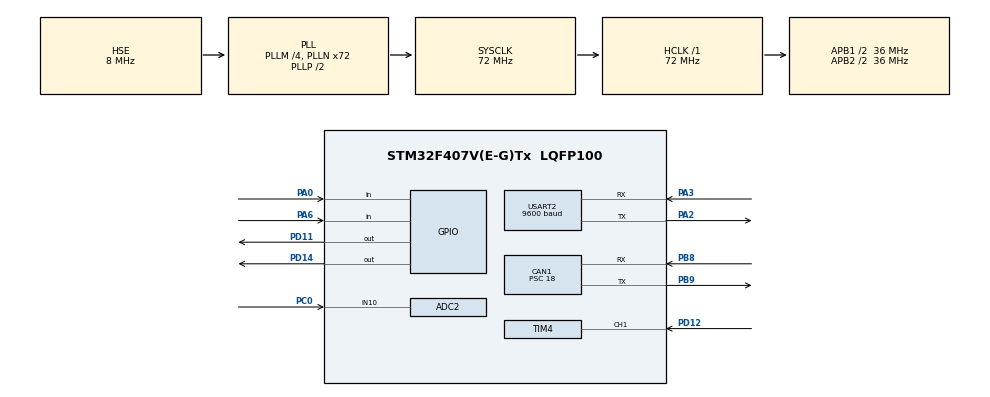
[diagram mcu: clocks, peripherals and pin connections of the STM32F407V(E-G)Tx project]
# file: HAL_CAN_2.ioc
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ADC2.Channel-0\#ChannelRegularConversion=ADC_CHANNEL_10
ADC2.NbrOfConversionFlag=1
ADC2.Rank-0\#ChannelRegularConversion=1
ADC2.SamplingTime-0\#ChannelRegularConversion=ADC_SAMPLETIME_3CYCLES
CAN1.BS1=CAN_BS1_2TQ
CAN1.CalculateBaudRate=500000
CAN1.CalculateTimeBit=2000
CAN1.CalculateTimeQuantum=500.0
CAN1.Prescaler=18
Mcu.Family=STM32F4
Mcu.Name=STM32F407V(E-G)Tx
Mcu.Package=LQFP100
NVIC.CAN1_RX0_IRQn=true\:0\:0\:false\:false\:true\:true\:true\:true
NVIC.PriorityGroup=NVIC_PRIORITYGROUP_0
NVIC.TIM4_IRQn=true\:0\:0\:false\:false\:true\:true\:true\:true
PA0-WKUP.Signal=GPIO_Input
PA2.Mode=Asynchronous
PA2.Signal=USART2_TX
PA3.Mode=Asynchronous
PA3.Signal=USART2_RX
PA6.Signal=GPIO_Input
PB8.Mode=CAN_Activate
PB8.Signal=CAN1_RX
PB9.Mode=CAN_Activate
PB9.Signal=CAN1_TX
PC0.Signal=ADCx_IN10
PD11.Signal=GPIO_Output
PD12.Signal=S_TIM4_CH1
PD14.Signal=GPIO_Output
PH0-OSC_IN.Mode=HSE-External-Oscillator
PH0-OSC_IN.Signal=RCC_OSC_IN
PH1-OSC_OUT.Mode=HSE-External-Oscillator
PH1-OSC_OUT.Signal=RCC_OSC_OUT
ProjectManager.HeapSize=0x200
ProjectManager.StackSize=0x400
ProjectManager.TargetToolchain=STM32CubeIDE
RCC.48MHZClocksFreq_Value=20571428.57142857
RCC.AHBFreq_Value=72000000
RCC.APB1CLKDivider=RCC_HCLK_DIV2
RCC.APB1Freq_Value=36000000
RCC.APB1TimFreq_Value=72000000
RCC.APB2CLKDivider=RCC_HCLK_DIV2
RCC.APB2Freq_Value=36000000
RCC.APB2TimFreq_Value=72000000
RCC.CortexFreq_Value=72000000
RCC.HCLKFreq_Value=72000000
RCC.HSE_VALUE=8000000
RCC.HSI_VALUE=16000000
RCC.LSE_VALUE=32768
RCC.PLLM=4
RCC.PLLN=72
RCC.PLLQ=7
RCC.PLLSourceVirtual=RCC_PLLSOURCE_HSE
RCC.SYSCLKFreq_VALUE=72000000
RCC.SYSCLKSource=RCC_SYSCLKSOURCE_PLLCLK
RCC.VCOOutputFreq_Value=144000000
SH.ADCx_IN10.0=ADC2_IN10,IN10
SH.S_TIM4_CH1.0=TIM4_CH1,Input_Capture1_from_TI1
TIM4.Channel-Input_Capture1_from_TI1=TIM_CHANNEL_1
TIM4.Prescaler=84-1
USART2.BaudRate=9600
USART2.VirtualMode=VM_ASYNC
VP_TIM4_VS_ClockSourceINT.Mode=Internal
board=STM32F407G-DISC1

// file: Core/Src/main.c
/* USER CODE BEGIN Header */
/**
  ******************************************************************************
  * @file           : main.c
  * @brief          : Main program body
  ******************************************************************************
  * @attention
  *
  * Copyright (c) 2024 STMicroelectronics.
  * All rights reserved.
  *
  * This software is licensed under terms that can be found in the LICENSE file
  * in the root directory of this software component.
  * If no LICENSE file comes with this software, it is provided AS-IS.
  *
  ******************************************************************************
  */
/* USER CODE END Header */
#include "main.h"

/* USER CODE BEGIN Includes */
#include <stdio.h>
#include <string.h>
/* USER CODE END Includes */

/* USER CODE BEGIN PD */
#define ULTRASONIC_TRIGGER_PORT		GPIOD
#define ULTRASONIC_TRIGGER_PIN		GPIO_PIN_11
#define ULTRASONIC_ECHO_PIN_IC		&htim4			//GPIO_PIN_12
/* USER CODE END PD */

ADC_HandleTypeDef hadc2;

CAN_HandleTypeDef hcan1;

TIM_HandleTypeDef htim4;

UART_HandleTypeDef huart2;

/* USER CODE BEGIN PV */
CAN_TxHeaderTypeDef TxHeader;
uint8_t TxData[8]={0};
uint32_t TxMailBox;
//.....................................
uint16_t distance = 0;
uint8_t isReadingFinished = 0;
uint8_t isRisingCaptured = 0;
uint32_t InputCaptureValue_1 = 0;
uint32_t InputCaptureValue_2 = 0;
uint32_t InputCaptureDifference = 0;
/* USER CODE END PV */

void SystemClock_Config(void);
static void MX_GPIO_Init(void);
static void MX_CAN1_Init(void);
static void MX_TIM4_Init(void);
static void MX_USART2_UART_Init(void);
static void MX_ADC2_Init(void);

/* USER CODE BEGIN 0 */

void Ultrasonic_distance(void)
{
	//Send Trigger Signal to ultrasonic trigger pin
	HAL_GPIO_WritePin(ULTRASONIC_TRIGGER_PORT, ULTRASONIC_TRIGGER_PIN, GPIO_PIN_SET);
	HAL_Delay(10);
	HAL_GPIO_WritePin(ULTRASONIC_TRIGGER_PORT, ULTRASONIC_TRIGGER_PIN, GPIO_PIN_RESET);
	//Enable Timer counter
	__HAL_TIM_ENABLE_IT(ULTRASONIC_ECHO_PIN_IC, TIM_IT_CC1);
}

void HAL_TIM_IC_CaptureCallback(TIM_HandleTypeDef *htim)
{
	//Capture Rising Edge
	if(isRisingCaptured == 0)
	{
		InputCaptureValue_1 = HAL_TIM_ReadCapturedValue(&htim4, TIM_CHANNEL_1);
		isRisingCaptured = 1;
		__HAL_TIM_SET_CAPTUREPOLARITY(&htim4, TIM_CHANNEL_1, TIM_INPUTCHANNELPOLARITY_FALLING);
	}
	//Capture Falling Edge
	else if(isRisingCaptured == 1)
	{
		InputCaptureValue_2 = HAL_TIM_ReadCapturedValue(&htim4, TIM_CHANNEL_1);
		__HAL_TIM_SET_COUNTER(&htim4, 0);

		if(InputCaptureValue_2 > InputCaptureValue_1)
		{
			InputCaptureDifference = InputCaptureValue_2 - InputCaptureValue_1;
		}
		else if(InputCaptureValue_1 > InputCaptureValue_2)
		{
			InputCaptureDifference = (0xFFFF - InputCaptureValue_1) + InputCaptureValue_2;
		}

		distance = InputCaptureDifference * 0.0173;

		isReadingFinished = 1;

		isRisingCaptured = 0;

		__HAL_TIM_SET_CAPTUREPOLARITY(&htim4, TIM_CHANNEL_1, TIM_INPUTCHANNELPOLARITY_RISING);
		__HAL_TIM_DISABLE_IT(&htim4, TIM_IT_CC1);

	}

}

uint8_t Read_RainSensor(void)
{
	// Digital input: 1 if dry, 0 if rain detected
	return HAL_GPIO_ReadPin(GPIOA, GPIO_PIN_6); // Example pin
}

void Read_Ultrasonic(void)
{
	Ultrasonic_distance();  // Triggers ultrasonic and handles capture via ISR
	while (!isReadingFinished); // Wait for measurement to complete
	isReadingFinished = 0;
}

uint16_t Read_Temperature(void)
{

	uint16_t raw_adc = 0;
	float temperature = 0.0;

	HAL_ADC_Start(&hadc2); // Ensure you initialize ADC1
	if (HAL_ADC_PollForConversion(&hadc2, 100) == HAL_OK)
	{
		raw_adc = HAL_ADC_GetValue(&hadc2);
		temperature = (raw_adc * 3.3 / 4096.0) * 10;  // For LM35: 10mV/°C
	}
	HAL_ADC_Stop(&hadc2);
	return (uint16_t)temperature;
}

/* USER CODE END 0 */

int main(void)
{

  /* MCU Configuration--------------------------------------------------------*/

  /* Reset of all peripherals, Initializes the Flash interface and the Systick. */
  HAL_Init();

  /* Configure the system clock */
  SystemClock_Config();

  /* Initialize all configured peripherals */
  MX_GPIO_Init();
  MX_CAN1_Init();
  MX_TIM4_Init();
  MX_USART2_UART_Init();
  MX_ADC2_Init();
  /* USER CODE BEGIN 2 */
  HAL_CAN_Start(&hcan1);
  HAL_TIM_IC_Start_IT(&htim4, TIM_CHANNEL_1);
  /* USER CODE END 2 */

  /* Infinite loop */
  /* USER CODE BEGIN WHILE */
	TxHeader.DLC = 5;
	TxHeader.RTR = CAN_RTR_DATA;
	TxHeader.IDE = CAN_ID_STD;
	TxHeader.StdId = 0x0A9;
	TxHeader.ExtId = 0x0000;
	TxHeader.TransmitGlobalTime = DISABLE;
  while (1)
  {
    /* USER CODE END WHILE */

    /* USER CODE BEGIN 3 */
	  Read_Ultrasonic();
	 uint8_t rain = Read_RainSensor();
	 uint16_t temp = Read_Temperature();
	 TxData[0] = (uint8_t)(distance >> 8);
	 TxData[1] = (uint8_t)(distance & 0xFF);
  	 TxData[2] = rain;
  	 TxData[3] = (uint8_t)(temp >> 8);
  	 TxData[4] = (uint8_t)(temp & 0xFF);
 	if(HAL_CAN_AddTxMessage(&hcan1, &TxHeader, TxData, &TxMailBox) != HAL_OK)
				Error_Handler();
	HAL_Delay(1000);
  }
  /* USER CODE END 3 */
}

void SystemClock_Config(void)
{
  RCC_OscInitTypeDef RCC_OscInitStruct = {0};
  RCC_ClkInitTypeDef RCC_ClkInitStruct = {0};

  /** Configure the main internal regulator output voltage
  */
  __HAL_RCC_PWR_CLK_ENABLE();
  __HAL_PWR_VOLTAGESCALING_CONFIG(PWR_REGULATOR_VOLTAGE_SCALE1);

  /** Initializes the RCC Oscillators according to the specified parameters
  * in the RCC_OscInitTypeDef structure.
  */
  RCC_OscInitStruct.OscillatorType = RCC_OSCILLATORTYPE_HSE;
  RCC_OscInitStruct.HSEState = RCC_HSE_ON;
  RCC_OscInitStruct.PLL.PLLState = RCC_PLL_ON;
  RCC_OscInitStruct.PLL.PLLSource = RCC_PLLSOURCE_HSE;
  RCC_OscInitStruct.PLL.PLLM = 4;
  RCC_OscInitStruct.PLL.PLLN = 72;
  RCC_OscInitStruct.PLL.PLLP = RCC_PLLP_DIV2;
  RCC_OscInitStruct.PLL.PLLQ = 7;
  if (HAL_RCC_OscConfig(&RCC_OscInitStruct) != HAL_OK)
  {
    Error_Handler();
  }

  /** Initializes the CPU, AHB and APB buses clocks
  */
  RCC_ClkInitStruct.ClockType = RCC_CLOCKTYPE_HCLK|RCC_CLOCKTYPE_SYSCLK
                              |RCC_CLOCKTYPE_PCLK1|RCC_CLOCKTYPE_PCLK2;
  RCC_ClkInitStruct.SYSCLKSource = RCC_SYSCLKSOURCE_PLLCLK;
  RCC_ClkInitStruct.AHBCLKDivider = RCC_SYSCLK_DIV1;
  RCC_ClkInitStruct.APB1CLKDivider = RCC_HCLK_DIV2;
  RCC_ClkInitStruct.APB2CLKDivider = RCC_HCLK_DIV2;

  if (HAL_RCC_ClockConfig(&RCC_ClkInitStruct, FLASH_LATENCY_2) != HAL_OK)
  {
    Error_Handler();
  }
}

static void MX_ADC2_Init(void)
{

  ADC_ChannelConfTypeDef sConfig = {0};

  /** Configure the global features of the ADC (Clock, Resolution, Data Alignment and number of conversion)
  */
  hadc2.Instance = ADC2;
  hadc2.Init.ClockPrescaler = ADC_CLOCK_SYNC_PCLK_DIV2;
  hadc2.Init.Resolution = ADC_RESOLUTION_12B;
  hadc2.Init.ScanConvMode = DISABLE;
  hadc2.Init.ContinuousConvMode = DISABLE;
  hadc2.Init.DiscontinuousConvMode = DISABLE;
  hadc2.Init.ExternalTrigConvEdge = ADC_EXTERNALTRIGCONVEDGE_NONE;
  hadc2.Init.ExternalTrigConv = ADC_SOFTWARE_START;
  hadc2.Init.DataAlign = ADC_DATAALIGN_RIGHT;
  hadc2.Init.NbrOfConversion = 1;
  hadc2.Init.DMAContinuousRequests = DISABLE;
  hadc2.Init.EOCSelection = ADC_EOC_SINGLE_CONV;
  if (HAL_ADC_Init(&hadc2) != HAL_OK)
  {
    Error_Handler();
  }

  /** Configure for the selected ADC regular channel its corresponding rank in the sequencer and its sample time.
  */
  sConfig.Channel = ADC_CHANNEL_10;
  sConfig.Rank = 1;
  sConfig.SamplingTime = ADC_SAMPLETIME_3CYCLES;
  if (HAL_ADC_ConfigChannel(&hadc2, &sConfig) != HAL_OK)
  {
    Error_Handler();
  }

}

static void MX_CAN1_Init(void)
{

  hcan1.Instance = CAN1;
  hcan1.Init.Prescaler = 18;
  hcan1.Init.Mode = CAN_MODE_NORMAL;
  hcan1.Init.SyncJumpWidth = CAN_SJW_1TQ;
  hcan1.Init.TimeSeg1 = CAN_BS1_2TQ;
  hcan1.Init.TimeSeg2 = CAN_BS2_1TQ;
  hcan1.Init.TimeTriggeredMode = DISABLE;
  hcan1.Init.AutoBusOff = DISABLE;
  hcan1.Init.AutoWakeUp = DISABLE;
  hcan1.Init.AutoRetransmission = DISABLE;
  hcan1.Init.ReceiveFifoLocked = DISABLE;
  hcan1.Init.TransmitFifoPriority = DISABLE;
  if (HAL_CAN_Init(&hcan1) != HAL_OK)
  {
    Error_Handler();
  }
  /* USER CODE BEGIN CAN1_Init 2 */
  CAN_FilterTypeDef FilterConfig;
  //FilterConfig.SlaveStartFilterBank = 9;
  FilterConfig.FilterActivation = CAN_FILTER_ENABLE;
  FilterConfig.FilterBank = 0;
  FilterConfig.FilterScale = CAN_FILTERSCALE_32BIT;
  FilterConfig.FilterMode = CAN_FILTERMODE_IDMASK;
  FilterConfig.FilterMaskIdHigh = 0xFF00;
  FilterConfig.FilterMaskIdLow = 0x0000;
  FilterConfig.FilterIdHigh = 0x1500;
  FilterConfig.FilterIdLow = 0x0000;
  FilterConfig.FilterFIFOAssignment = CAN_RX_FIFO0;

  if(HAL_CAN_ConfigFilter(&hcan1, &FilterConfig) != HAL_OK)
	   Error_Handler();
  /* USER CODE END CAN1_Init 2 */

}

static void MX_TIM4_Init(void)
{

  TIM_ClockConfigTypeDef sClockSourceConfig = {0};
  TIM_MasterConfigTypeDef sMasterConfig = {0};
  TIM_IC_InitTypeDef sConfigIC = {0};

  htim4.Instance = TIM4;
  htim4.Init.Prescaler = 84-1;
  htim4.Init.CounterMode = TIM_COUNTERMODE_UP;
  htim4.Init.Period = 65535;
  htim4.Init.ClockDivision = TIM_CLOCKDIVISION_DIV1;
  htim4.Init.AutoReloadPreload = TIM_AUTORELOAD_PRELOAD_DISABLE;
  if (HAL_TIM_Base_Init(&htim4) != HAL_OK)
  {
    Error_Handler();
  }
  sClockSourceConfig.ClockSource = TIM_CLOCKSOURCE_INTERNAL;
  if (HAL_TIM_ConfigClockSource(&htim4, &sClockSourceConfig) != HAL_OK)
  {
    Error_Handler();
  }
  if (HAL_TIM_IC_Init(&htim4) != HAL_OK)
  {
    Error_Handler();
  }
  sMasterConfig.MasterOutputTrigger = TIM_TRGO_RESET;
  sMasterConfig.MasterSlaveMode = TIM_MASTERSLAVEMODE_DISABLE;
  if (HAL_TIMEx_MasterConfigSynchronization(&htim4, &sMasterConfig) != HAL_OK)
  {
    Error_Handler();
  }
  sConfigIC.ICPolarity = TIM_INPUTCHANNELPOLARITY_RISING;
  sConfigIC.ICSelection = TIM_ICSELECTION_DIRECTTI;
  sConfigIC.ICPrescaler = TIM_ICPSC_DIV1;
  sConfigIC.ICFilter = 0;
  if (HAL_TIM_IC_ConfigChannel(&htim4, &sConfigIC, TIM_CHANNEL_1) != HAL_OK)
  {
    Error_Handler();
  }

}

static void MX_USART2_UART_Init(void)
{

  huart2.Instance = USART2;
  huart2.Init.BaudRate = 9600;
  huart2.Init.WordLength = UART_WORDLENGTH_8B;
  huart2.Init.StopBits = UART_STOPBITS_1;
  huart2.Init.Parity = UART_PARITY_NONE;
  huart2.Init.Mode = UART_MODE_TX_RX;
  huart2.Init.HwFlowCtl = UART_HWCONTROL_NONE;
  huart2.Init.OverSampling = UART_OVERSAMPLING_16;
  if (HAL_UART_Init(&huart2) != HAL_OK)
  {
    Error_Handler();
  }

}

static void MX_GPIO_Init(void)
{
  GPIO_InitTypeDef GPIO_InitStruct = {0};

  /* GPIO Ports Clock Enable */
  __HAL_RCC_GPIOH_CLK_ENABLE();
  __HAL_RCC_GPIOC_CLK_ENABLE();
  __HAL_RCC_GPIOA_CLK_ENABLE();
  __HAL_RCC_GPIOD_CLK_ENABLE();
  __HAL_RCC_GPIOB_CLK_ENABLE();

  /*Configure GPIO pin Output Level */
  HAL_GPIO_WritePin(GPIOD, GPIO_PIN_11|GPIO_PIN_14, GPIO_PIN_RESET);

  /*Configure GPIO pins : PA0 PA6 */
  GPIO_InitStruct.Pin = GPIO_PIN_0|GPIO_PIN_6;
  GPIO_InitStruct.Mode = GPIO_MODE_INPUT;
  GPIO_InitStruct.Pull = GPIO_NOPULL;
  HAL_GPIO_Init(GPIOA, &GPIO_InitStruct);

  /*Configure GPIO pins : PD11 PD14 */
  GPIO_InitStruct.Pin = GPIO_PIN_11|GPIO_PIN_14;
  GPIO_InitStruct.Mode = GPIO_MODE_OUTPUT_PP;
  GPIO_InitStruct.Pull = GPIO_NOPULL;
  GPIO_InitStruct.Speed = GPIO_SPEED_FREQ_LOW;
  HAL_GPIO_Init(GPIOD, &GPIO_InitStruct);

}

void Error_Handler(void)
{
  __disable_irq();
  while (1)
  {
  }
}
